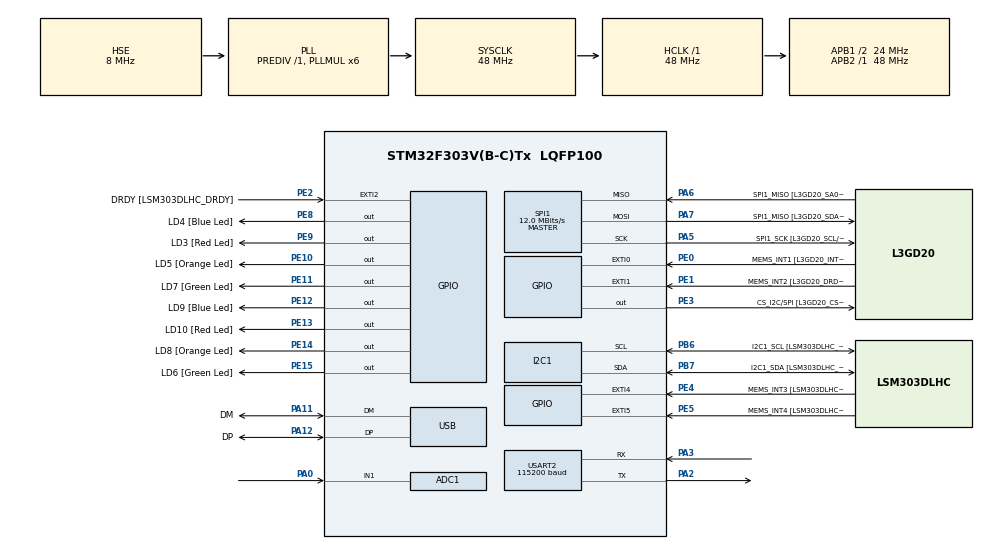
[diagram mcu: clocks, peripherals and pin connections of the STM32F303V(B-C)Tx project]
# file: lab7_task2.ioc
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ADC1.Channel-0\#ChannelRegularConversion=ADC_CHANNEL_1
ADC1.ContinuousConvMode=ENABLE
ADC1.NbrOfConversionFlag=1
ADC1.Offset-0\#ChannelRegularConversion=0
ADC1.OffsetNumber-0\#ChannelRegularConversion=ADC_OFFSET_NONE
ADC1.Rank-0\#ChannelRegularConversion=1
ADC1.SamplingTime-0\#ChannelRegularConversion=ADC_SAMPLETIME_1CYCLE_5
ADC1.SamplingTimeOPAMP-0\#ChannelRegularConversion=ADC_SAMPLETIME_19CYCLES_5
ADC1.master=1
I2C1.Timing=0x00201D2B
I2C1.Timing-I2C=0x2000090E
Mcu.Family=STM32F3
Mcu.Name=STM32F303V(B-C)Tx
Mcu.Package=LQFP100
NVIC.ADC1_2_IRQn=true\:0\:0\:false\:false\:true\:true\:true\:true
NVIC.PriorityGroup=NVIC_PRIORITYGROUP_0
PA0.Mode=IN1-Single-Ended
PA0.Signal=ADC1_IN1
PA11.GPIO_Label=DM
PA11.Mode=Device
PA11.Signal=USB_DM
PA12.GPIO_Label=DP
PA12.Mode=Device
PA12.Signal=USB_DP
PA13.GPIO_Label=SWDIO
PA13.Mode=Serial_Wire
PA13.Signal=SYS_JTMS-SWDIO
PA14.GPIO_Label=SWCLK
PA14.Mode=Serial_Wire
PA14.Signal=SYS_JTCK-SWCLK
PA2.Mode=Asynchronous
PA2.Signal=USART2_TX
PA3.Mode=Asynchronous
PA3.Signal=USART2_RX
PA5.GPIO_Label=SPI1_SCK [L3GD20_SCL/SPC]
PA5.Mode=Full_Duplex_Master
PA5.Signal=SPI1_SCK
PA6.GPIO_Label=SPI1_MISO [L3GD20_SA0/SDO]
PA6.Mode=Full_Duplex_Master
PA6.Signal=SPI1_MISO
PA7.GPIO_Label=SPI1_MISO [L3GD20_SDA/SDI/SDO]
PA7.Mode=Full_Duplex_Master
PA7.Signal=SPI1_MOSI
PB3.GPIO_Label=SWO
PB3.Signal=SYS_JTDO-TRACESWO
PB6.GPIO_Label=I2C1_SCL [LSM303DLHC_SCL]
PB6.GPIO_Pu=GPIO_PULLUP
PB6.Mode=I2C
PB6.Signal=I2C1_SCL
PB7.GPIO_Label=I2C1_SDA [LSM303DLHC_SDA]
PB7.GPIO_Pu=GPIO_PULLUP
PB7.Mode=I2C
PB7.Signal=I2C1_SDA
PC14-OSC32_IN.GPIO_Label=OSC32_IN
PC14-OSC32_IN.Signal=RCC_OSC32_IN
PC15-OSC32_OUT.GPIO_Label=OSC32_OUT
PC15-OSC32_OUT.Signal=RCC_OSC32_OUT
PE0.GPIO_Label=MEMS_INT1 [L3GD20_INT1]
PE0.GPIO_ModeDefaultEXTI=GPIO_MODE_EVT_RISING
PE0.Signal=GPXTI0
PE1.GPIO_Label=MEMS_INT2 [L3GD20_DRDY/INT2]
PE1.GPIO_ModeDefaultEXTI=GPIO_MODE_EVT_RISING
PE1.Signal=GPXTI1
PE10.GPIO_Label=LD5 [Orange Led]
PE10.Signal=GPIO_Output
PE11.GPIO_Label=LD7 [Green Led]
PE11.Signal=GPIO_Output
PE12.GPIO_Label=LD9 [Blue Led]
PE12.Signal=GPIO_Output
PE13.GPIO_Label=LD10 [Red Led]
PE13.Signal=GPIO_Output
PE14.GPIO_Label=LD8 [Orange Led]
PE14.Signal=GPIO_Output
PE15.GPIO_Label=LD6 [Green Led]
PE15.Signal=GPIO_Output
PE2.GPIO_Label=DRDY [LSM303DLHC_DRDY]
PE2.GPIO_ModeDefaultEXTI=GPIO_MODE_EVT_RISING
PE2.Signal=GPXTI2
PE3.GPIO_Label=CS_I2C/SPI [L3GD20_CS_I2C/SPI]
PE3.Signal=GPIO_Output
PE4.GPIO_Label=MEMS_INT3 [LSM303DLHC_INT1]
PE4.GPIO_ModeDefaultEXTI=GPIO_MODE_EVT_RISING
PE4.Signal=GPXTI4
PE5.GPIO_Label=MEMS_INT4 [LSM303DLHC_INT2]
PE5.GPIO_ModeDefaultEXTI=GPIO_MODE_EVT_RISING
PE5.Signal=GPXTI5
PE8.GPIO_Label=LD4 [Blue Led]
PE8.Signal=GPIO_Output
PE9.GPIO_Label=LD3 [Red Led]
PE9.Signal=GPIO_Output
PF0-OSC_IN.GPIO_Label=OSC_IN
PF0-OSC_IN.Mode=HSE-External-Clock-Source
PF0-OSC_IN.Signal=RCC_OSC_IN
PF1-OSC_OUT.GPIO_Label=OSC_OUT
PF1-OSC_OUT.Signal=RCC_OSC_OUT
ProjectManager.HeapSize=0x200
ProjectManager.StackSize=0x400
ProjectManager.TargetToolchain=CMake
RCC.AHBFreq_Value=48000000
RCC.APB1CLKDivider=RCC_HCLK_DIV2
RCC.APB1Freq_Value=24000000
RCC.APB1TimFreq_Value=48000000
RCC.APB2Freq_Value=48000000
RCC.APB2TimFreq_Value=48000000
RCC.CortexFreq_Value=48000000
RCC.HCLKFreq_Value=48000000
RCC.HSE_VALUE=8000000
RCC.HSI_VALUE=8000000
RCC.LSE_VALUE=32768
RCC.PLLMUL=RCC_PLL_MUL6
RCC.SYSCLKFreq_VALUE=48000000
RCC.SYSCLKSourceVirtual=RCC_SYSCLKSOURCE_PLLCLK
RCC.USBFreq_Value=48000000
SPI1.BaudRatePrescaler=SPI_BAUDRATEPRESCALER_4
SPI1.BaudRatePrescaler-Full_Duplex_Master=SPI_BAUDRATEPRESCALER_2
SPI1.CalculateBaudRate=12.0 MBits/s
SPI1.CalculateBaudRate-Full_Duplex_Master=24.0 MBits/s
SPI1.Direction=SPI_DIRECTION_2LINES
SPI1.Mode=SPI_MODE_MASTER
SPI1.Mode-Full_Duplex_Master=SPI_MODE_MASTER
SPI1.VirtualType=VM_MASTER
STMicroelectronics.X-CUBE-ALGOBUILD.1.4.0.LibraryCcDSPOoLibraryJjDSPOoLibrary=true
USART2.BaudRate=115200
USART2.VirtualMode-Asynchronous=VM_ASYNC
VP_STMicroelectronics.X-CUBE-ALGOBUILD_VS_DSPOoLibraryJjLibrary_1.4.0_1.4.0.Mode=DSPOoLibraryJjLibrary
board=STM32F3DISCOVERY

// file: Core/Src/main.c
/* USER CODE BEGIN Header */
/**
  ******************************************************************************
  * @file           : main.c
  * @brief          : Main program body
  ******************************************************************************
  * @attention
  *
  * Copyright (c) 2025 STMicroelectronics.
  * All rights reserved.
  *
  * This software is licensed under terms that can be found in the LICENSE file
  * in the root directory of this software component.
  * If no LICENSE file comes with this software, it is provided AS-IS.
  *
  ******************************************************************************
  */
/* USER CODE END Header */
#include "main.h"
#include <stdio.h>          /* snprintf */
#include <string.h>         /* strlen  */
#include "arm_math.h"

/* USER CODE BEGIN PTD */
#define VREF_VOLTS     3.30f
#define ADC_MAX_COUNT  4095.0f          /* 12-bit ADC -> 0..4095 */
#define FILTER_LEN     10               /* 10-sample moving average */
/* USER CODE END PTD */

ADC_HandleTypeDef hadc1;

I2C_HandleTypeDef hi2c1;

SPI_HandleTypeDef hspi1;

UART_HandleTypeDef huart2;

PCD_HandleTypeDef hpcd_USB_FS;

/* USER CODE BEGIN PV */
static float32_t maBuf[FILTER_LEN];  /* circular buffer for MA (volts) */
static uint32_t  maIdx = 0;          /* write index 0..FILTER_LEN-1    */
static uint8_t   maFilled = 0;       /* becomes 1 after first wrap     */
static char      uartBuf[64];        /* “raw,filtered\r\n” lines       */

/* USER CODE END PV */

void SystemClock_Config(void);
static void MX_GPIO_Init(void);
static void MX_I2C1_Init(void);
static void MX_SPI1_Init(void);
static void MX_USART2_UART_Init(void);
static void MX_USB_PCD_Init(void);
static void MX_ADC1_Init(void);

int main(void)
{

  /* MCU Configuration--------------------------------------------------------*/

  /* Reset of all peripherals, Initializes the Flash interface and the Systick. */
  HAL_Init();

  /* Configure the system clock */
  SystemClock_Config();

  /* Initialize all configured peripherals */
  MX_GPIO_Init();
  MX_I2C1_Init();
  MX_SPI1_Init();
  MX_USART2_UART_Init();
  MX_USB_PCD_Init();
  MX_ADC1_Init();
  /* USER CODE BEGIN 2 */
  if (HAL_ADCEx_Calibration_Start(&hadc1, ADC_SINGLE_ENDED) != HAL_OK) {
    Error_Handler();
  }
  if (HAL_ADC_Start(&hadc1) != HAL_OK) {
    Error_Handler();
  }

  /* USER CODE END 2 */

  /* Infinite loop */
  /* USER CODE BEGIN WHILE */
  while (1)
  {

    if (HAL_ADC_PollForConversion(&hadc1, HAL_MAX_DELAY) == HAL_OK)
    {
      /* Read sample (counts) and convert to volts */
      uint32_t counts = HAL_ADC_GetValue(&hadc1);
      float32_t v = (counts / ADC_MAX_COUNT) * VREF_VOLTS;

      /* Update circular buffer */
      maBuf[maIdx] = v;
      maIdx = (maIdx + 1u) % FILTER_LEN;
      if (!maFilled && (maIdx == 0u)) { maFilled = 1u; }

      /* Compute 10-point moving average */
      float32_t vAvg = v;
      if (maFilled) {
        arm_mean_f32(maBuf, FILTER_LEN, &vAvg);
      }

      /* Print integers (millivolts) so float-printf isn’t required */
      int raw_mV = (int)(v    * 1000.0f + 0.5f);
      int avg_mV = (int)(vAvg * 1000.0f + 0.5f);

      int n = snprintf(uartBuf, sizeof(uartBuf), "%d,%d\r\n", raw_mV, avg_mV);
      if (n > 0) {
        HAL_UART_Transmit(&huart2, (uint8_t*)uartBuf, (uint16_t)n, 50);
      }
    }

    /* Light pacing for terminal/plotter (ADC continues free-running) */
    HAL_Delay(2);
    /* USER CODE END WHILE */

  }
}

void SystemClock_Config(void)
{
  RCC_OscInitTypeDef RCC_OscInitStruct = {0};
  RCC_ClkInitTypeDef RCC_ClkInitStruct = {0};
  RCC_PeriphCLKInitTypeDef PeriphClkInit = {0};

  /** Initializes the RCC Oscillators according to the specified parameters
  * in the RCC_OscInitTypeDef structure.
  */
  RCC_OscInitStruct.OscillatorType = RCC_OSCILLATORTYPE_HSI|RCC_OSCILLATORTYPE_HSE;
  RCC_OscInitStruct.HSEState = RCC_HSE_BYPASS;
  RCC_OscInitStruct.HSEPredivValue = RCC_HSE_PREDIV_DIV1;
  RCC_OscInitStruct.HSIState = RCC_HSI_ON;
  RCC_OscInitStruct.HSICalibrationValue = RCC_HSICALIBRATION_DEFAULT;
  RCC_OscInitStruct.PLL.PLLState = RCC_PLL_ON;
  RCC_OscInitStruct.PLL.PLLSource = RCC_PLLSOURCE_HSE;
  RCC_OscInitStruct.PLL.PLLMUL = RCC_PLL_MUL6;
  if (HAL_RCC_OscConfig(&RCC_OscInitStruct) != HAL_OK)
  {
    Error_Handler();
  }

  /** Initializes the CPU, AHB and APB buses clocks
  */
  RCC_ClkInitStruct.ClockType = RCC_CLOCKTYPE_HCLK|RCC_CLOCKTYPE_SYSCLK
                              |RCC_CLOCKTYPE_PCLK1|RCC_CLOCKTYPE_PCLK2;
  RCC_ClkInitStruct.SYSCLKSource = RCC_SYSCLKSOURCE_PLLCLK;
  RCC_ClkInitStruct.AHBCLKDivider = RCC_SYSCLK_DIV1;
  RCC_ClkInitStruct.APB1CLKDivider = RCC_HCLK_DIV2;
  RCC_ClkInitStruct.APB2CLKDivider = RCC_HCLK_DIV1;

  if (HAL_RCC_ClockConfig(&RCC_ClkInitStruct, FLASH_LATENCY_1) != HAL_OK)
  {
    Error_Handler();
  }
  PeriphClkInit.PeriphClockSelection = RCC_PERIPHCLK_USB|RCC_PERIPHCLK_USART2
                              |RCC_PERIPHCLK_I2C1|RCC_PERIPHCLK_ADC12;
  PeriphClkInit.Usart2ClockSelection = RCC_USART2CLKSOURCE_PCLK1;
  PeriphClkInit.Adc12ClockSelection = RCC_ADC12PLLCLK_DIV1;
  PeriphClkInit.I2c1ClockSelection = RCC_I2C1CLKSOURCE_HSI;
  PeriphClkInit.USBClockSelection = RCC_USBCLKSOURCE_PLL;
  if (HAL_RCCEx_PeriphCLKConfig(&PeriphClkInit) != HAL_OK)
  {
    Error_Handler();
  }
}

static void MX_ADC1_Init(void)
{

  ADC_MultiModeTypeDef multimode = {0};
  ADC_ChannelConfTypeDef sConfig = {0};

  /** Common config
  */
  hadc1.Instance = ADC1;
  hadc1.Init.ClockPrescaler = ADC_CLOCK_ASYNC_DIV1;
  hadc1.Init.Resolution = ADC_RESOLUTION_12B;
  hadc1.Init.ScanConvMode = ADC_SCAN_DISABLE;
  hadc1.Init.ContinuousConvMode = ENABLE;
  hadc1.Init.DiscontinuousConvMode = DISABLE;
  hadc1.Init.ExternalTrigConvEdge = ADC_EXTERNALTRIGCONVEDGE_NONE;
  hadc1.Init.ExternalTrigConv = ADC_SOFTWARE_START;
  hadc1.Init.DataAlign = ADC_DATAALIGN_RIGHT;
  hadc1.Init.NbrOfConversion = 1;
  hadc1.Init.DMAContinuousRequests = DISABLE;
  hadc1.Init.EOCSelection = ADC_EOC_SINGLE_CONV;
  hadc1.Init.LowPowerAutoWait = DISABLE;
  hadc1.Init.Overrun = ADC_OVR_DATA_OVERWRITTEN;
  if (HAL_ADC_Init(&hadc1) != HAL_OK)
  {
    Error_Handler();
  }

  /** Configure the ADC multi-mode
  */
  multimode.Mode = ADC_MODE_INDEPENDENT;
  if (HAL_ADCEx_MultiModeConfigChannel(&hadc1, &multimode) != HAL_OK)
  {
    Error_Handler();
  }

  /** Configure Regular Channel
  */
  sConfig.Channel = ADC_CHANNEL_1;
  sConfig.Rank = ADC_REGULAR_RANK_1;
  sConfig.SingleDiff = ADC_SINGLE_ENDED;
  sConfig.SamplingTime = ADC_SAMPLETIME_61CYCLES_5;
  sConfig.OffsetNumber = ADC_OFFSET_NONE;
  sConfig.Offset = 0;
  if (HAL_ADC_ConfigChannel(&hadc1, &sConfig) != HAL_OK)
  {
    Error_Handler();
  }

}

static void MX_I2C1_Init(void)
{

  hi2c1.Instance = I2C1;
  hi2c1.Init.Timing = 0x00201D2B;
  hi2c1.Init.OwnAddress1 = 0;
  hi2c1.Init.AddressingMode = I2C_ADDRESSINGMODE_7BIT;
  hi2c1.Init.DualAddressMode = I2C_DUALADDRESS_DISABLE;
  hi2c1.Init.OwnAddress2 = 0;
  hi2c1.Init.OwnAddress2Masks = I2C_OA2_NOMASK;
  hi2c1.Init.GeneralCallMode = I2C_GENERALCALL_DISABLE;
  hi2c1.Init.NoStretchMode = I2C_NOSTRETCH_DISABLE;
  if (HAL_I2C_Init(&hi2c1) != HAL_OK)
  {
    Error_Handler();
  }

  /** Configure Analogue filter
  */
  if (HAL_I2CEx_ConfigAnalogFilter(&hi2c1, I2C_ANALOGFILTER_ENABLE) != HAL_OK)
  {
    Error_Handler();
  }

  /** Configure Digital filter
  */
  if (HAL_I2CEx_ConfigDigitalFilter(&hi2c1, 0) != HAL_OK)
  {
    Error_Handler();
  }

}

static void MX_SPI1_Init(void)
{

  /* SPI1 parameter configuration*/
  hspi1.Instance = SPI1;
  hspi1.Init.Mode = SPI_MODE_MASTER;
  hspi1.Init.Direction = SPI_DIRECTION_2LINES;
  hspi1.Init.DataSize = SPI_DATASIZE_4BIT;
  hspi1.Init.CLKPolarity = SPI_POLARITY_LOW;
  hspi1.Init.CLKPhase = SPI_PHASE_1EDGE;
  hspi1.Init.NSS = SPI_NSS_SOFT;
  hspi1.Init.BaudRatePrescaler = SPI_BAUDRATEPRESCALER_4;
  hspi1.Init.FirstBit = SPI_FIRSTBIT_MSB;
  hspi1.Init.TIMode = SPI_TIMODE_DISABLE;
  hspi1.Init.CRCCalculation = SPI_CRCCALCULATION_DISABLE;
  hspi1.Init.CRCPolynomial = 7;
  hspi1.Init.CRCLength = SPI_CRC_LENGTH_DATASIZE;
  hspi1.Init.NSSPMode = SPI_NSS_PULSE_ENABLE;
  if (HAL_SPI_Init(&hspi1) != HAL_OK)
  {
    Error_Handler();
  }

}

static void MX_USART2_UART_Init(void)
{

  huart2.Instance = USART2;
  huart2.Init.BaudRate = 115200;
  huart2.Init.WordLength = UART_WORDLENGTH_8B;
  huart2.Init.StopBits = UART_STOPBITS_1;
  huart2.Init.Parity = UART_PARITY_NONE;
  huart2.Init.Mode = UART_MODE_TX_RX;
  huart2.Init.HwFlowCtl = UART_HWCONTROL_NONE;
  huart2.Init.OverSampling = UART_OVERSAMPLING_16;
  huart2.Init.OneBitSampling = UART_ONE_BIT_SAMPLE_DISABLE;
  huart2.AdvancedInit.AdvFeatureInit = UART_ADVFEATURE_NO_INIT;
  if (HAL_UART_Init(&huart2) != HAL_OK)
  {
    Error_Handler();
  }

}

static void MX_USB_PCD_Init(void)
{

  hpcd_USB_FS.Instance = USB;
  hpcd_USB_FS.Init.dev_endpoints = 8;
  hpcd_USB_FS.Init.speed = PCD_SPEED_FULL;
  hpcd_USB_FS.Init.phy_itface = PCD_PHY_EMBEDDED;
  hpcd_USB_FS.Init.low_power_enable = DISABLE;
  hpcd_USB_FS.Init.battery_charging_enable = DISABLE;
  if (HAL_PCD_Init(&hpcd_USB_FS) != HAL_OK)
  {
    Error_Handler();
  }

}

static void MX_GPIO_Init(void)
{
  GPIO_InitTypeDef GPIO_InitStruct = {0};

  /* GPIO Ports Clock Enable */
  __HAL_RCC_GPIOE_CLK_ENABLE();
  __HAL_RCC_GPIOC_CLK_ENABLE();
  __HAL_RCC_GPIOF_CLK_ENABLE();
  __HAL_RCC_GPIOA_CLK_ENABLE();
  __HAL_RCC_GPIOB_CLK_ENABLE();

  /*Configure GPIO pin Output Level */
  HAL_GPIO_WritePin(GPIOE, CS_I2C_SPI_Pin|LD4_Pin|LD3_Pin|LD5_Pin
                          |LD7_Pin|LD9_Pin|LD10_Pin|LD8_Pin
                          |LD6_Pin, GPIO_PIN_RESET);

  /*Configure GPIO pins : DRDY_Pin MEMS_INT3_Pin MEMS_INT4_Pin MEMS_INT1_Pin
                           MEMS_INT2_Pin */
  GPIO_InitStruct.Pin = DRDY_Pin|MEMS_INT3_Pin|MEMS_INT4_Pin|MEMS_INT1_Pin
                          |MEMS_INT2_Pin;
  GPIO_InitStruct.Mode = GPIO_MODE_EVT_RISING;
  GPIO_InitStruct.Pull = GPIO_NOPULL;
  HAL_GPIO_Init(GPIOE, &GPIO_InitStruct);

  /*Configure GPIO pins : CS_I2C_SPI_Pin LD4_Pin LD3_Pin LD5_Pin
                           LD7_Pin LD9_Pin LD10_Pin LD8_Pin
                           LD6_Pin */
  GPIO_InitStruct.Pin = CS_I2C_SPI_Pin|LD4_Pin|LD3_Pin|LD5_Pin
                          |LD7_Pin|LD9_Pin|LD10_Pin|LD8_Pin
                          |LD6_Pin;
  GPIO_InitStruct.Mode = GPIO_MODE_OUTPUT_PP;
  GPIO_InitStruct.Pull = GPIO_NOPULL;
  GPIO_InitStruct.Speed = GPIO_SPEED_FREQ_LOW;
  HAL_GPIO_Init(GPIOE, &GPIO_InitStruct);

}

void Error_Handler(void)
{
  __disable_irq();
  while (1)
  {
  }
}
